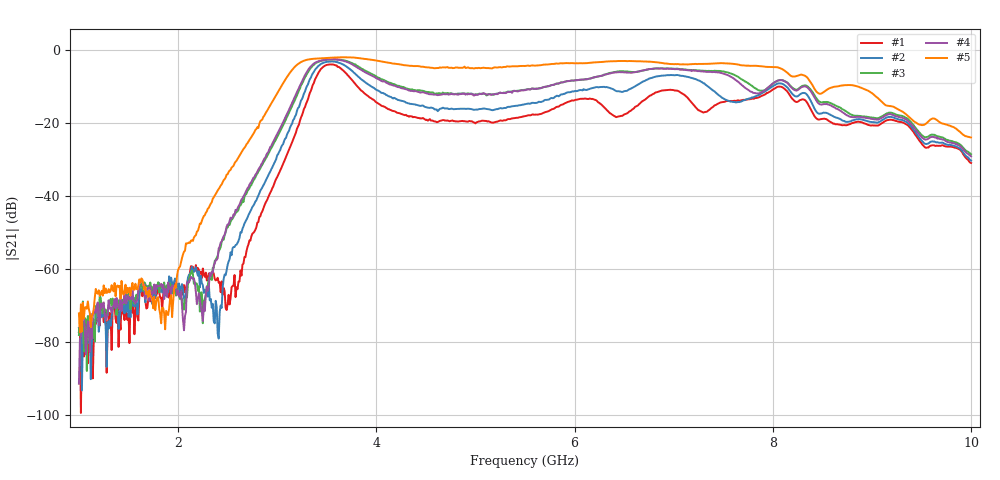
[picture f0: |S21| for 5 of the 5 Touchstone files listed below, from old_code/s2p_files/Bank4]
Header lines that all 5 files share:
!Agilent Technologies,N5227A,US51270477,A.10.00.00
!File generated by LCAF-GAM-UPV software
!josevmart@iteam.upv.es
!S2P File: Measurements: S11, S21, S12, S22:
# Hz S  dB  R 50
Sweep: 1 GHz to 10 GHz
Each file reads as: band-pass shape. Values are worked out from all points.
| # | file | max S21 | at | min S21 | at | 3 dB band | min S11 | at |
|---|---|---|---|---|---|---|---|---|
| 1 | Channel0.s2p | -3.84 dB | 3.55 GHz | -99.3 dB | 1.02 GHz | 3.41 GHz-3.71 GHz | -27.3 dB | 3.5 GHz |
| 2 | Channel1.s2p | -3.05 dB | 3.56 GHz | -93.1 dB | 1.03 GHz | 3.37 GHz-3.77 GHz | -26.0 dB | 3.47 GHz |
| 3 | Channel2.s2p | -2.44 dB | 3.58 GHz | -87.8 dB | 1.08 GHz | 3.33 GHz-3.88 GHz | -24.4 dB | 3.45 GHz |
| 4 | Channel3.s2p | -2.47 dB | 3.57 GHz | -91.3 dB | 1 GHz | 3.31 GHz-3.85 GHz | -21.1 dB | 3.42 GHz |
| 5 | Channel4.s2p | -1.89 dB | 3.69 GHz | -77.2 dB | 1.01 GHz | 5.18 GHz-8.07 GHz | -27.1 dB | 7.76 GHz |
